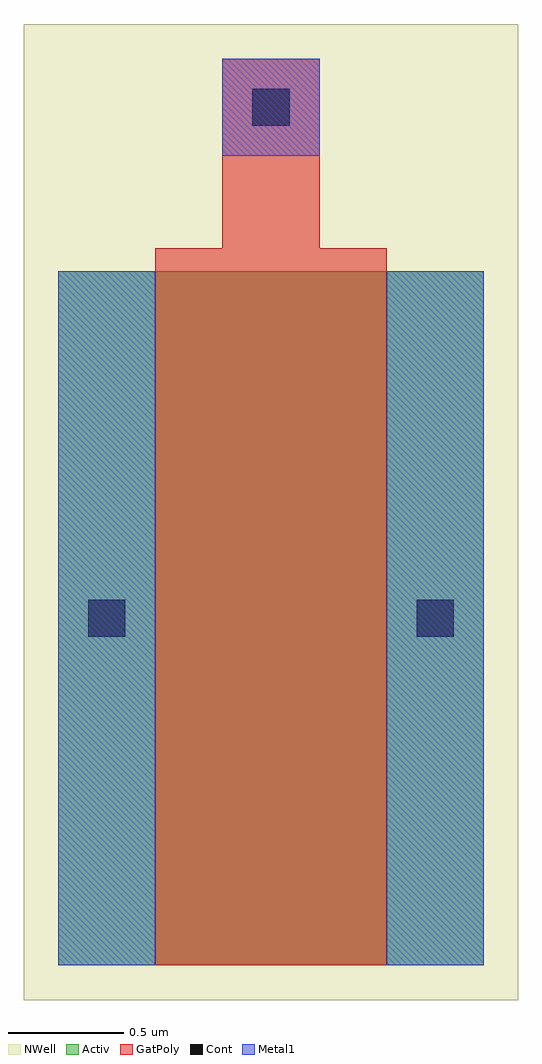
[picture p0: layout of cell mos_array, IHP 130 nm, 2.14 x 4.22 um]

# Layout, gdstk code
import gdstk
lib = gdstk.Library(unit=1e-6, precision=1e-09)
def R(c, l, rs):  # rectangles x0, y0, x1, y1
    for r in rs: c.add(gdstk.rectangle(r[:2], r[2:], *l))
Activ = (1, 0)
GatPoly = (5, 0)
Cont = (6, 0)
Metal1 = (8, 0)
NWell = (31, 0)

mos_array = lib.new_cell('mos_array')
R(mos_array, Activ, [(0,0,1.84,3)])
R(mos_array, GatPoly, [(0.42,0,1.42,3), (0.42,3,1.42,3.1), (0.71,3.1,1.13,3.92)])
R(mos_array, Cont, [(0.13,1.42,0.29,1.58), (1.55,1.42,1.71,1.58), (0.84,3.63,1,3.79)])
R(mos_array, Metal1, [(0,0,0.42,3), (1.42,0,1.84,3), (0.71,3.5,1.13,3.92)])
R(mos_array, NWell, [(-0.15,-0.15,1.99,4.07)])

lib.write_gds('mos_array.gds')
